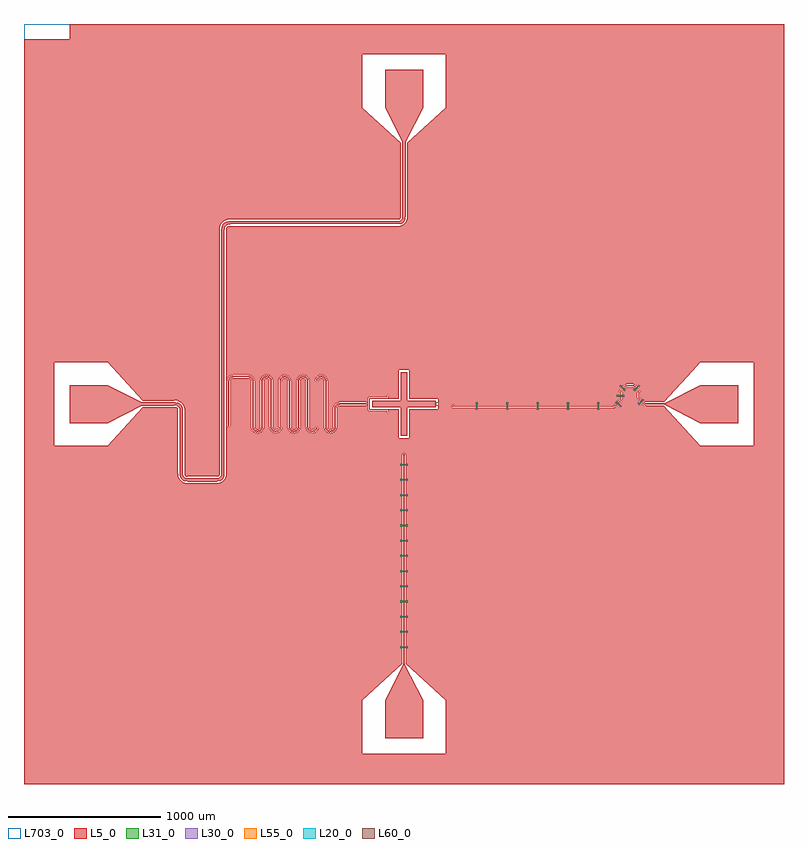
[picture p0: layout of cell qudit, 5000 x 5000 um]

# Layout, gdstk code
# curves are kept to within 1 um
import gdstk
lib = gdstk.Library(unit=1e-6, precision=1e-09)
def R(c, l, rs):  # rectangles x0, y0, x1, y1
    for r in rs: c.add(gdstk.rectangle(r[:2], r[2:], *l))
def A(c, l, x, y, w, h, nx, ny, dx, dy):  # array of equal rectangles
    R(c, l, [(x+i*dx, y+j*dy, x+i*dx+w, y+j*dy+h) for i in range(nx) for j in range(ny)])
def P(c, l, *ps):  # polygons
    for p in ps: c.add(gdstk.Polygon(p, *l))
L5_0 = (5, 0)
L20_0 = (20, 0)
L30_0 = (30, 0)
L31_0 = (31, 0)
L55_0 = (55, 0)
L60_0 = (60, 0)
L703_0 = (703, 0)

qudit = lib.new_cell('qudit')
R(qudit, L5_0, [(-1169,225,-0.065,275)])
P(qudit, L5_0, [(-125,-2200),(-125,-1950),(-5,-1713.945),(-5,-336),(-2.5,-325.5),(-2.5,-232),(2.5,-232),(2.5,-325.5),(5,-336),(5,-1713.945),(125,-1950),(125,-2200)],
  [(-20,-210),(-20,-20),(-210,-20),(-210,20),(-20,20),(-20,210),(20,210),(20,20),(210,20),(210,-20),(20,-20),(20,-210)],
  [(-1416.349,-510),(-1438.957,-507.98),(-1455.59,-500.323),(-1468.143,-486.246),(-1474.144,-467.827),(-1475.054,-43.283),(-1477.543,-27.243),(-1485.322,-16.509),(-1494.61,-11.761),(-1507.91,-10.064),(-1723.781,-10),(-1950,-125),(-2200,-125),(-2200,125),(-1950,125),(-1723.78,10),(-1507.068,9.92),(-1490.725,7.901),(-1477.565,2.44),(-1468.328,-5.038),(-1461.354,-14.66),(-1457.099,-25.725),(-1455.218,-38.85),(-1454.986,-454.321),(-1454.041,-466.906),(-1450.96,-475.997),(-1446.272,-482.091),(-1439.884,-486.538),(-1422.09,-489.936),(-1233.048,-489.909),(-1219.642,-487.946),(-1210.366,-482.68),(-1203.147,-471.643),(-1201.014,-454.321),(-1200.998,1143.441),(-1199.719,1161.48),(-1195.362,1174.96),(-1187.553,1186.087),(-1176.794,1194.397),(-1164.163,1199.168),(-1148.356,1200.936),(-46.709,1201.006),(-31.112,1202.371),(-20.625,1207.269),(-12.543,1218.243),(-10.04,1234.907),(-10,1723.781),(-125,1950),(-125,2200),(125,2200),(125,1950),(10,1723.78),(9.911,1232.779),(8.571,1219.734),(5.311,1209.075),(-0.194,1199.719),(-8.037,1191.725),(-24.291,1183.481),(-45.899,1181.011),(-1147.093,1180.96),(-1165.448,1177.745),(-1171.92,1173.421),(-1176.819,1167.25),(-1180.098,1157.586),(-1180.998,1143.381),(-1181.9,-468.137),(-1186.042,-482.713),(-1194.328,-494.962),(-1206.118,-503.89),(-1220.52,-508.719),(-1237.455,-509.993)],
  [(1366.594,-2500),(1366.594,-24),(1387.029,-22.859),(1402.355,-18.608),(1415.409,-10.5),(1425.637,1.188),(1431.039,12.32),(1434.012,25.029),(1436.453,82.023),(1440.1,92.169),(1446.373,100.221),(1455.591,106.254),(1467.559,109.304),(1493.793,109.916),(1509.258,108.018),(1522.478,101.242),(1531.254,89.409),(1534.413,76.516),(1535.361,45.131),(1537.687,30.477),(1543.921,15.89),(1554.088,3.932),(1569.326,-5.301),(1588.215,-9.485),(1707.992,-10),(1950,-275),(2300,-275),(2300,275),(1366.594,275),(1366.594,2500),(2500,2500),(2500,-2500)],
  [(1950,-125),(1713.945,-5),(1593.415,-4.822),(1578.042,-2.807),(1565.856,1.818),(1552.121,13.054),(1543.539,28.385),(1540.47,43.944),(1539.169,78.801),(1534.726,93.747),(1529.826,100.98),(1523.476,106.809),(1507.334,113.586),(1490.949,114.975),(1465.952,114.135),(1453.931,110.982),(1443.93,104.748),(1436.128,95.303),(1431.743,83.887),(1429.078,25.853),(1426.068,13.266),(1420.683,2.761),(1407.742,-10.018),(1390.539,-17.134),(1366.594,-19),(1366.594,-9),(1382.688,-8.311),(1394.196,-5.714),(1403.953,-0.458),(1411.809,7.524),(1416.381,15.916),(1419.028,26.216),(1420.47,76.056),(1425.101,95.643),(1431.457,106.134),(1440.293,114.641),(1450.875,120.537),(1463.152,123.827),(1490.396,124.982),(1509.545,123.342),(1523.88,118.324),(1535.882,109.185),(1543.535,98.482),(1548.103,85.681),(1550.466,44.433),(1553.368,30.581),(1560.802,18.311),(1572.526,9.645),(1582.666,6.414),(1595.673,5.098),(1713.945,5),(1950,125),(2200,125),(2200,-125)],
  [(1366.594,-4),(1366.594,275),(2300,275),(1948.634,273.505),(1707.992,10),(1596.207,10.084),(1584.069,11.236),(1574.935,14.039),(1564.779,21.373),(1558.132,32.114),(1555.513,44.184),(1554.689,74.137),(1552.552,88.6),(1546.763,102.973),(1537.268,114.847),(1523.415,124.135),(1506.424,128.948),(1474.193,129.859),(1453.629,126.788),(1442.601,122.094),(1432.854,114.96),(1425.186,106.057),(1419.639,95.521),(1415.416,75.603),(1414.23,27.986),(1412.151,18.897),(1408.463,11.467),(1401.766,4.171),(1392.789,-0.904),(1381.98,-3.36)],
  [(-0.065,275),(-0.065,1182.737),(9.078,1192.091),(15.952,1203.474),(20.117,1216.297),(21.852,1230.961),(22,1718.95),(275,1950),(275,2300),(-0.065,2300),(-0.065,2500),(1366.594,2500),(1366.594,275)],
  [(-0.065,-2500),(-0.065,-2300),(275,-2300),(275,-1950),(11,-1708.905),(11,-336),(5.5,-325.5),(5.5,-229),(-0.065,-229),(-0.065,-225),(35,-225),(35,-35),(225,-35),(225,35),(35,35),(35,225),(-0.065,225),(-0.065,275),(1366.594,275),(1366.594,-4),(331,-4),(314.8,-13),(232,-13),(232,17),(229,17),(229,-16),(316.3,-16),(331,-9),(1366.594,-9),(1366.594,-19),(229,-19),(229,-36),(232,-36),(232,-22),(315,-22),(330,-24),(1366.594,-24),(1366.594,-2500)],
  [(-2500,2300),(-2500,2400),(-2200,2400),(-2200,2500),(-0.065,2500),(-0.065,2300)],
  [(-1169,275),(-1168.992,1144.593),(-1167.68,1158.164),(-1162.986,1165.276),(-1155.989,1168.192),(-1143.346,1168.998),(-44.469,1169.026),(-19.663,1172.334),(-9.338,1176.592),(-0.065,1182.737),(-0.065,275)],
  [(-1169,-229),(-1169,190.998),(-1124.044,190.998),(-1138.632,188.298),(-1151.338,180.554),(-1160.443,168.785),(-1164.748,154.542),(-1165,-150.002),(-1159,-150.002),(-1158.785,153.877),(-1155.36,165.54),(-1148.153,175.329),(-1138.033,182.062),(-1126.774,184.888),(-1018.47,184.559),(-1009.967,182.062),(-1002.364,177.51),(-996.488,171.634),(-991.936,164.031),(-989.004,150.553),(-988.949,-151.588),(-987.209,-159.293),(-983.151,-166.071),(-977.18,-171.245),(-969.894,-174.297),(-959.659,-174.622),(-950.152,-170.816),(-942.969,-163.518),(-939.315,-153.952),(-938.842,153.325),(-935.603,165.041),(-929.331,174.151),(-919.543,181.358),(-908.981,184.642),(-895.748,184.012),(-883.698,178.509),(-873.97,167.977),(-869.439,155.528),(-868.949,-151.588),(-867.209,-159.293),(-863.651,-165.456),(-857.848,-170.816),(-851.423,-173.874),(-840.442,-174.747),(-830.82,-171.245),(-822.969,-163.518),(-819.315,-153.952),(-818.842,153.325),(-816.064,164.031),(-810.085,173.335),(-800.53,180.849),(-790.078,184.467),(-776.832,184.257),(-763.698,178.509),(-753.97,167.977),(-749.439,155.528),(-748.949,-151.588),(-747.209,-159.293),(-743.651,-165.456),(-738.501,-170.366),(-732.176,-173.626),(-721.229,-174.847),(-710.82,-171.245),(-702.969,-163.518),(-699.315,-153.952),(-698.842,153.325),(-696.064,164.031),(-690.085,173.335),(-680.53,180.849),(-670.078,184.467),(-656.832,184.257),(-643.698,178.509),(-633.97,167.977),(-629.439,155.528),(-628.949,-151.588),(-627.492,-158.552),(-624.131,-164.824),(-613.658,-173.06),(-602.019,-174.923),(-591.5,-171.652),(-583.409,-164.178),(-579.315,-153.952),(-578.842,153.325),(-576.064,164.031),(-570.812,172.496),(-562.453,179.739),(-552.252,184.012),(-537.922,184.467),(-524.612,179.138),(-514.556,168.921),(-509.439,155.528),(-508.987,-150.795),(-505.031,-163.518),(-495.806,-172.038),(-485.981,-174.923),(-475.078,-173.355),(-465.907,-167.254),(-460.508,-158.552),(-459,-149.962),(-458.561,-24.472),(-455.603,-14.959),(-450.451,-7.082),(-442.923,-0.558),(-434.392,3.42),(-424.555,4.994),(-244,4.998),(-244,54),(-109,54),(-109,44),(-234,44),(-234,-44),(-109,-44),(-109,-54),(-244,-54),(-244,-5.002),(-423.98,-5.002),(-431.801,-6.25),(-438.176,-9.41),(-443.404,-14.238),(-448.799,-26.837),(-449.017,-151.112),(-451.507,-163.01),(-459.448,-174.947),(-472.552,-183.078),(-486.774,-184.893),(-500.53,-180.853),(-507.748,-175.713),(-513.444,-168.925),(-517.253,-160.923),(-518.93,-152.222),(-519.202,153.163),(-522.969,163.514),(-530.152,170.812),(-539.659,174.618),(-549.894,174.293),(-557.18,171.241),(-563.151,166.067),(-567.209,159.289),(-568.949,151.584),(-569.632,-156.626),(-575.815,-170.754),(-587.47,-180.853),(-602.335,-184.963),(-617.522,-182.285),(-626.07,-177.168),(-632.185,-170.754),(-636.89,-161.973),(-638.93,-152.222),(-639.315,153.948),(-642.969,163.514),(-650.152,170.812),(-659.659,174.618),(-669.12,174.467),(-677.18,171.241),(-683.151,166.067),(-687.209,159.289),(-688.949,151.584),(-689.632,-156.626),(-695.815,-170.754),(-706.5,-180.313),(-721.226,-184.893),(-735.448,-183.078),(-745.197,-177.854),(-752.185,-170.754),(-756.89,-161.973),(-758.93,-152.222),(-759.315,153.948),(-762.969,163.514),(-769.499,170.362),(-778.106,174.293),(-788.341,174.618),(-796.5,171.648),(-802.631,166.667),(-807.209,159.289),(-808.949,151.584),(-809.632,-156.626),(-815.171,-169.849),(-825.547,-179.743),(-839.019,-184.646),(-853.327,-183.737),(-862.453,-179.743),(-870.812,-172.5),(-876.493,-163.01),(-878.93,-152.222),(-879.315,153.948),(-882.551,162.84),(-888.86,169.892),(-898.106,174.293),(-907.558,174.743),(-915.806,172.034),(-922.093,167.25),(-926.902,160.021),(-928.949,151.584),(-929.632,-156.626),(-934.556,-168.925),(-944.612,-179.142),(-956.832,-184.261),(-971.168,-184.261),(-981.5,-180.313),(-990.085,-173.339),(-996.064,-164.035),(-998.842,-153.329),(-999.003,150.395),(-1001.097,160.021),(-1009.177,170.13),(-1021.229,174.844),(-1126.376,174.885),(-1134.745,172.571),(-1141.817,167.535),(-1146.903,160.021),(-1148.95,151.584),(-1149,-150.002),(-1143,-150.002),(-1142.94,151.504),(-1141.283,157.891),(-1137.541,163.326),(-1132.166,167.153),(-1125.806,168.912),(-1022.194,168.912),(-1012.979,165.475),(-1006.594,157.616),(-1005,149.954),(-1004.816,-153.899),(-1001.562,-166.441),(-994.557,-177.34),(-984.501,-185.51),(-972.397,-190.134),(-955.603,-190.134),(-941.289,-184.139),(-929.507,-172.169),(-923.74,-157.762),(-922.96,151.203),(-921.405,157.615),(-917.75,163.109),(-912.437,167.021),(-906.704,168.803),(-898.937,168.31),(-892.02,164.744),(-887.113,158.704),(-885.04,151.203),(-884.486,-156.48),(-881.021,-167.624),(-874.557,-177.34),(-865.617,-184.842),(-854.926,-189.521),(-838.165,-190.586),(-822.383,-184.842),(-810.228,-173.252),(-803.74,-157.762),(-802.96,151.203),(-801.638,157.059),(-798.159,162.666),(-793.499,166.451),(-787.299,168.708),(-778.937,168.31),(-772.02,164.744),(-767.113,158.704),(-765.04,151.203),(-764.672,-155.192),(-761.562,-166.441),(-755.409,-176.357),(-746.711,-184.139),(-737.41,-188.748),(-728.545,-190.751),(-719.455,-190.751),(-703.499,-185.51),(-696.18,-180.121),(-690.228,-173.252),(-683.74,-157.762),(-682.96,151.203),(-681.638,157.059),(-678.159,162.666),(-667.891,168.594),(-660.109,168.594),(-652.98,165.474),(-647.7,159.757),(-645.154,152.403),(-644.919,-152.602),(-642.529,-164.025),(-637.772,-173.252),(-629.854,-181.825),(-619.841,-187.82),(-611.12,-190.38),(-602.049,-190.957),(-593.074,-189.521),(-584.636,-186.143),(-577.15,-180.989),(-570.983,-174.312),(-566.438,-166.441),(-563.74,-157.762),(-562.989,150.601),(-561.638,157.059),(-558.554,162.21),(-548.479,168.461),(-540.701,168.708),(-533.476,165.816),(-528.017,160.269),(-525.154,152.403),(-524.919,-152.602),(-522.954,-162.796),(-518.493,-172.169),(-510.85,-180.989),(-502.207,-186.739),(-485.951,-190.957),(-469.367,-188.303),(-455.239,-179.223),(-445.936,-165.241),(-443.019,-151.303),(-442.883,-27.896),(-438.747,-18.022),(-429.929,-11.951),(-249,-11.002),(-249,-59),(-104,-59),(-104,-39),(-229,-39),(-229,39),(-104,39),(-104,59),(-249,59),(-249,10.998),(-424.044,10.998),(-434.926,9.516),(-445.061,5.176),(-454.119,-2.183),(-460.443,-11.215),(-464.259,-22.243),(-465.95,-155.93),(-470.25,-163.113),(-477.22,-167.75),(-485.506,-168.941),(-492.972,-166.748),(-499.983,-160.273),(-502.989,-150.605),(-503.514,156.476),(-509.507,172.165),(-520.217,183.397),(-535.603,190.13),(-552.397,190.13),(-563.364,186.139),(-573.674,178.292),(-581.021,167.62),(-584.486,156.476),(-585.087,-151.808),(-588.017,-160.273),(-594.501,-166.455),(-603.096,-168.979),(-611.892,-167.284),(-619.983,-160.273),(-622.989,-150.605),(-623.514,156.476),(-629.507,172.165),(-640.217,183.397),(-654.334,189.844),(-671.12,190.376),(-683.364,186.139),(-693.674,178.292),(-701.021,167.62),(-704.486,156.476),(-705.087,-151.808),(-708.017,-160.273),(-713.983,-166.146),(-721.894,-168.884),(-730.214,-167.956),(-739.299,-161.266),(-742.989,-150.605),(-743.514,156.476),(-749.507,172.165),(-760.217,183.397),(-774.334,189.844),(-789.835,190.582),(-802.207,186.735),(-812.761,179.219),(-820.443,168.786),(-824.486,156.476),(-825.04,-151.207),(-827.398,-159.239),(-833.476,-165.82),(-841.296,-168.807),(-849.641,-168.144),(-858.934,-161.746),(-862.989,-150.605),(-863.514,156.476),(-868.821,171.059),(-879.169,182.625),(-893.074,189.517),(-908.545,190.747),(-921.033,187.294),(-931.82,180.117),(-939.829,169.933),(-944.486,156.476),(-945.04,-151.207),(-947.398,-159.239),(-952.98,-165.478),(-960.701,-168.712),(-969.063,-168.314),(-978.554,-162.214),(-982.96,-151.207),(-983.005,150.649),(-984.155,159.664),(-987.557,168.785),(-993.014,176.848),(-1000.217,183.396),(-1008.762,188.061),(-1018.81,190.668),(-1169,190.998),(-1169,225),(-35,225),(-35,35),(-225,35),(-225,-35),(-35,-35),(-35,-225),(-0.065,-225),(-0.065,-229)],
  [(-2500,-2500),(-2500,2300),(-275,2300),(-275,1950),(-22,1718.95),(-22.002,1238.654),(-23.573,1223.027),(-26.379,1218.239),(-30.789,1215.055),(-45.92,1213.012),(-1149.447,1212.91),(-1166.084,1211.035),(-1179.713,1206.396),(-1191.943,1198.425),(-1201.637,1187.801),(-1210.285,1169.176),(-1212.986,1145.493),(-1213.001,-451.964),(-1213.794,-464.914),(-1216.724,-471.986),(-1222.919,-476.39),(-1233.91,-477.931),(-1419.08,-477.988),(-1433.447,-476.258),(-1440.592,-469.941),(-1442.995,-453.099),(-1443.148,-39.961),(-1444.651,-26.436),(-1447.939,-15.08),(-1453.139,-5.009),(-1460.532,4.159),(-1469.098,11.257),(-1478.874,16.567),(-1501.827,21.678),(-1718.95,22),(-1950,275),(-2300,275),(-2300,-275),(-1950,-275),(-1718.95,-22),(-1499.073,-23.003),(-1493.836,-25.131),(-1490.019,-29.006),(-1487.104,-41.932),(-1486.962,-456.284),(-1484.993,-475.276),(-1479.408,-490.662),(-1471.418,-502.094),(-1460.539,-511.501),(-1448.118,-517.742),(-1433.58,-521.15),(-1233.953,-521.947),(-1211.255,-518.844),(-1193.136,-509.869),(-1178.903,-494.624),(-1171.007,-475.276),(-1169.014,-454.493),(-1169,-229),(-5.5,-229),(-5.5,-325.5),(-11,-336),(-11,-1708.905),(-275,-1950),(-275,-2300),(-0.065,-2300),(-0.065,-2500)])
R(qudit, L20_0, [(218.5,-11.5,224,-8.5), (218.5,8.5,224,11.5)])
P(qudit, L20_0, [(211,-11.5),(211,-8.5),(216.5,-8.5),(217,-9.845),(218.36,-9.845),(218.36,-10.155),(217,-10.155),(216.5,-11.5)],
  [(211,8.5),(211,11.5),(216.5,11.5),(217,10.155),(218.36,10.155),(218.36,9.845),(217,9.845),(216.5,8.5)])
A(qudit, L30_0, -22.5, -1604.5, 10, 10.5, 1, 13, 0, 100)
A(qudit, L30_0, 12.5, -1604.5, 10, 10.5, 1, 13, 0, 100)
A(qudit, L30_0, 473.75, -36.5, 10.5, 10, 5, 2, 200, 35)
R(qudit, L30_0, [(1402.5,47.75,1412.5,58.25), (1437.5,47.75,1447.5,58.25)])
P(qudit, L30_0, [(1423.676,-20.151),(1416.616,-13.068),(1424.052,-5.655),(1431.112,-12.738)],
  [(1546.262,-6.112),(1538.849,1.324),(1545.932,8.384),(1553.345,0.948)],
  [(1398.966,4.637),(1391.906,11.72),(1399.342,19.133),(1406.402,12.05)],
  [(1571.05,18.598),(1563.637,26.034),(1570.72,33.094),(1578.133,25.658)],
  [(1519.342,86.867),(1511.906,94.28),(1518.966,101.363),(1526.402,93.95)],
  [(1450.72,86.906),(1443.637,93.966),(1451.05,101.402),(1458.133,94.342)],
  [(1425.932,111.616),(1418.849,118.676),(1426.262,126.112),(1433.345,119.052)],
  [(1544.052,111.655),(1536.616,119.068),(1543.676,126.151),(1551.112,118.738)])
P(qudit, L31_0, [(-24,-1606),(-24,-1592.5),(-11,-1592.5),(-11,-1595.5),(11,-1595.5),(11,-1592.5),(24,-1592.5),(24,-1606),(11,-1606),(11,-1603),(-11,-1603),(-11,-1606)],
  [(-24,-1506),(-24,-1492.5),(-11,-1492.5),(-11,-1495.5),(11,-1495.5),(11,-1492.5),(24,-1492.5),(24,-1506),(11,-1506),(11,-1503),(-11,-1503),(-11,-1506)],
  [(-24,-1406),(-24,-1392.5),(-11,-1392.5),(-11,-1395.5),(11,-1395.5),(11,-1392.5),(24,-1392.5),(24,-1406),(11,-1406),(11,-1403),(-11,-1403),(-11,-1406)],
  [(-24,-1306),(-24,-1292.5),(-11,-1292.5),(-11,-1295.5),(11,-1295.5),(11,-1292.5),(24,-1292.5),(24,-1306),(11,-1306),(11,-1303),(-11,-1303),(-11,-1306)],
  [(-24,-1206),(-24,-1192.5),(-11,-1192.5),(-11,-1195.5),(11,-1195.5),(11,-1192.5),(24,-1192.5),(24,-1206),(11,-1206),(11,-1203),(-11,-1203),(-11,-1206)],
  [(-24,-1106),(-24,-1092.5),(-11,-1092.5),(-11,-1095.5),(11,-1095.5),(11,-1092.5),(24,-1092.5),(24,-1106),(11,-1106),(11,-1103),(-11,-1103),(-11,-1106)],
  [(-24,-1006),(-24,-992.5),(-11,-992.5),(-11,-995.5),(11,-995.5),(11,-992.5),(24,-992.5),(24,-1006),(11,-1006),(11,-1003),(-11,-1003),(-11,-1006)],
  [(-24,-906),(-24,-892.5),(-11,-892.5),(-11,-895.5),(11,-895.5),(11,-892.5),(24,-892.5),(24,-906),(11,-906),(11,-903),(-11,-903),(-11,-906)],
  [(-24,-806),(-24,-792.5),(-11,-792.5),(-11,-795.5),(11,-795.5),(11,-792.5),(24,-792.5),(24,-806),(11,-806),(11,-803),(-11,-803),(-11,-806)],
  [(-24,-706),(-24,-692.5),(-11,-692.5),(-11,-695.5),(11,-695.5),(11,-692.5),(24,-692.5),(24,-706),(11,-706),(11,-703),(-11,-703),(-11,-706)],
  [(-24,-606),(-24,-592.5),(-11,-592.5),(-11,-595.5),(11,-595.5),(11,-592.5),(24,-592.5),(24,-606),(11,-606),(11,-603),(-11,-603),(-11,-606)],
  [(-24,-506),(-24,-492.5),(-11,-492.5),(-11,-495.5),(11,-495.5),(11,-492.5),(24,-492.5),(24,-506),(11,-506),(11,-503),(-11,-503),(-11,-506)],
  [(-24,-406),(-24,-392.5),(-11,-392.5),(-11,-395.5),(11,-395.5),(11,-392.5),(24,-392.5),(24,-406),(11,-406),(11,-403),(-11,-403),(-11,-406)],
  [(472.25,-38),(472.25,-25),(475.25,-25),(475.25,-3),(472.25,-3),(472.25,10),(485.75,10),(485.75,-3),(482.75,-3),(482.75,-25),(485.75,-25),(485.75,-38)],
  [(672.25,-38),(672.25,-25),(675.25,-25),(675.25,-3),(672.25,-3),(672.25,10),(685.75,10),(685.75,-3),(682.75,-3),(682.75,-25),(685.75,-25),(685.75,-38)],
  [(872.25,-38),(872.25,-25),(875.25,-25),(875.25,-3),(872.25,-3),(872.25,10),(885.75,10),(885.75,-3),(882.75,-3),(882.75,-25),(885.75,-25),(885.75,-38)],
  [(1072.25,-38),(1072.25,-25),(1075.25,-25),(1075.25,-3),(1072.25,-3),(1072.25,10),(1085.75,10),(1085.75,-3),(1082.75,-3),(1082.75,-25),(1085.75,-25),(1085.75,-38)],
  [(1272.25,-38),(1272.25,-25),(1275.25,-25),(1275.25,-3),(1272.25,-3),(1272.25,10),(1285.75,10),(1285.75,-3),(1282.75,-3),(1282.75,-25),(1285.75,-25),(1285.75,-38)],
  [(1423.672,-22.272),(1414.494,-13.065),(1416.619,-10.947),(1401.087,4.634),(1398.963,2.516),(1389.785,11.723),(1399.346,21.254),(1408.524,12.047),(1406.399,9.929),(1421.931,-5.652),(1424.055,-3.534),(1433.233,-12.741)],
  [(1546.259,-8.233),(1536.728,1.328),(1545.935,10.506),(1548.053,8.381),(1563.634,23.913),(1561.516,26.037),(1570.723,35.215),(1580.254,25.654),(1571.047,16.476),(1568.929,18.601),(1553.348,3.069),(1555.466,0.945)],
  [(1401,46.25),(1401,59.75),(1414,59.75),(1414,56.75),(1436,56.75),(1436,59.75),(1449,59.75),(1449,46.25),(1436,46.25),(1436,49.25),(1414,49.25),(1414,46.25)],
  [(1450.723,84.785),(1441.516,93.963),(1443.634,96.087),(1428.053,111.619),(1425.935,109.494),(1416.728,118.672),(1426.259,128.233),(1435.466,119.055),(1433.348,116.931),(1448.929,101.399),(1451.047,103.524),(1460.254,94.346)],
  [(1519.346,84.746),(1509.785,94.277),(1518.963,103.484),(1521.087,101.366),(1536.619,116.947),(1534.494,119.065),(1543.672,128.272),(1553.233,118.741),(1544.055,109.534),(1541.931,111.652),(1526.399,96.071),(1528.524,93.953)])
R(qudit, L55_0, [(208,-11.5,211,11.5), (224,-11.5,227,11.5)])
P(qudit, L60_0, [(216.5,-11.5),(216.5,-8.5),(217,-9.845),(218.5,-9.845),(218.5,-10.155),(217,-10.155)],
  [(216.5,8.5),(216.5,11.5),(217,10.155),(218.5,10.155),(218.5,9.845),(217,9.845)])
R(qudit, L703_0, [(-2500,-2500,2500,2500)])

lib.write_gds('qudit.gds')
